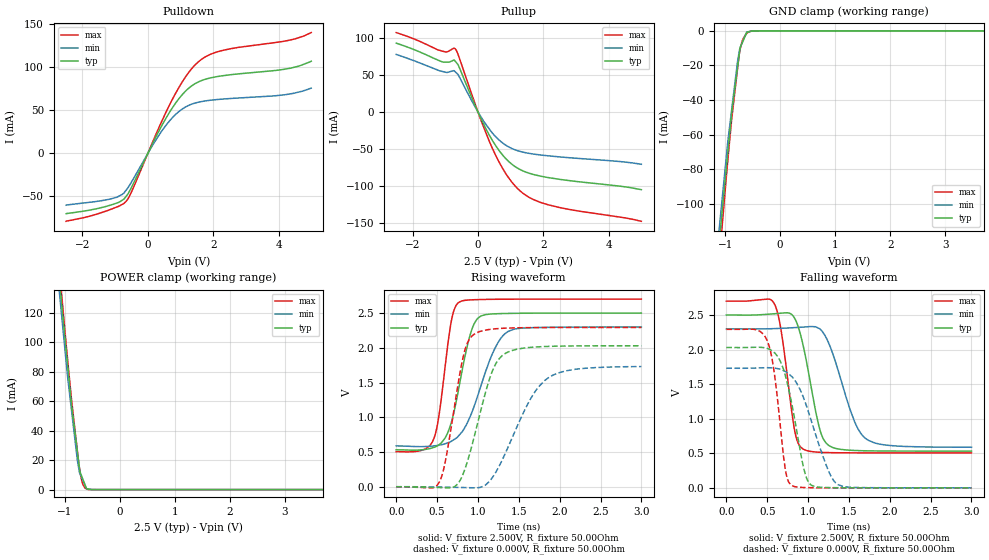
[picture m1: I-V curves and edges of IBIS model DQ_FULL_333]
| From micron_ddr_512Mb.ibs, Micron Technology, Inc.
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|   MODEL DQ_FULL_333
[Model]   DQ_FULL_333
Model_type   I/O
Vinl = 0.940V
Vinh = 1.560V
Vmeas = 1.250V
Vref = 1.250V
Cref = 30.000pF
Rref = 50.000Ohm
|   typ   min   max
C_comp   3.00pF   2.85pF   3.15pF
[Model Spec]
| Input threshold voltage corners
Vinh   1.560V   1.460V   1.660V
Vinl   0.940V   0.840V   1.040V
| Measurement voltage corners
Vmeas   1.250V   1.150V   1.350V
| Timing spec test load voltage corners
Vref   1.250V   1.150V   1.350V
| Overshoot/Undershoot
S_overshoot_high   2.800V   2.600V   3.000V
S_overshoot_low   -0.300V   -0.300V   -0.300V
D_overshoot_high   4.000V   3.800V   4.200V
D_overshoot_low   -1.500V   -1.500V   -1.500V
D_overshoot_time   2.000n   2.000n   2.000n
[Receiver Thresholds]
Vth   =  1.250V
Vth_min  =  1.225V
Vth_max  =  1.275V
Vinh_ac  =  0.310V
Vinh_dc  =  0.150V
Vinl_ac  = -0.310V
Vinl_dc  = -0.150V
Tslew_ac =  10.000ns |Not specified, so set to high value
Threshold_sensitivity = 0.50
Reference_supply Pullup_ref
[Voltage Range]   2.500V   2.300V   2.700V
[Pullup Reference]   2.500V   2.300V   2.700V
| Junction Temperature (Ambient temp is 25C typ, 70C min, 0C max)
[Temperature Range]   40.0   85.0   0.0
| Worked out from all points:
|   slope of the pulldown table from 0 to 0.375 V, typ, clamps not added: 13.1 ohm
|   slope of the pullup table from 0 to 0.375 V, typ, clamps not added: 11.2 ohm
|   GND clamp passes 1 mA (typ) near -0.61 V on its own axis
|   POWER clamp passes 1 mA (typ) near -0.61 V on its own axis
|   falling waveform, V_fixture 2.500V, R_fixture 50.00Ohm: 20-80 % time 196ps typ, 282ps min, 147ps max; typ from 2.5 V to 0.532 V
|   rising waveform, V_fixture 2.500V, R_fixture 50.00Ohm: 20-80 % time 212ps typ, 320ps min, 145ps max; typ from 0.532 V to 2.5 V
|   rising waveform, V_fixture 0.000V, R_fixture 50.00Ohm: 20-80 % time 281ps typ, 427ps min, 197ps max; typ from 0 V to 2.03 V
|   falling waveform, V_fixture 0.000V, R_fixture 50.00Ohm: 20-80 % time 203ps typ, 300ps min, 135ps max; typ from 2.03 V to 0 V
[Pulldown]
|   Voltage   I(typ)   I(min)   I(max)
-2.5V     -70.06mA   -60.08mA   -78.85mA
-1.175V   -60.44mA   -53.21mA   -65.57mA
-775mV    -54.17mA   -47.43mA   -59.06mA
-670mV    -50.2mA    -43.01mA   -55.93mA
-510mV    -40.25mA   -33.9mA    -45.6mA
185mV     14.47mA    12mA       16.52mA
615mV     44.78mA    35.59mA    52.56mA
1.12V     71.14mA    53.28mA    87.1mA
1.58V     83.75mA    59.87mA    107.6mA
2.285V    90.32mA    63.22mA    119.8mA
4.13V     97.6mA     68mA       130.3mA
5V        107.2mA    75.98mA    140.6mA
[GND Clamp]
|   Voltage   I(typ)   I(min)   I(max)
-2.5V     -659.2mA   -625.3mA   -694.5mA
-1.11V    -124.1mA   -115.6mA   -134.2mA
-1.055V   -104.8mA   -97.85mA   -113.6mA
-950mV    -70.46mA   -63.97mA   -74.93mA
-875mV    -46.09mA   -44.3mA    -49.79mA
-775mV    -21.57mA   -18.13mA   -22.31mA
-745mV    -14.21mA   -12.44mA   -14.06mA
-725mV    -9.619mA   -9.587mA   -10.56mA
-685mV    -6.686mA   -6.604mA   -5.657mA
-605mV    -822.7uA   -719.1uA   -1.543mA
-435mV    -7.22uA    -16.8uA    -15.81uA
5V        0A         0A         0A
[Pullup]
|   Voltage   I(typ)   I(min)   I(max)
-2.5V     92.94mA    77.62mA    107.2mA
-1.22V    69.97mA    56.38mA    83.71mA
-975mV    67.21mA    53.48mA    80.82mA
-695mV    68.55mA    54.22mA    85.29mA
-605mV    63.71mA    50.35mA    77.36mA
185mV     -17.32mA   -13.27mA   -21.51mA
495mV     -42.26mA   -31.15mA   -54.15mA
945mV     -67.04mA   -47.32mA   -89.34mA
1.365V    -79.42mA   -54.19mA   -109.4mA
1.885V    -86.44mA   -57.97mA   -121.7mA
2.475V    -90.89mA   -60.65mA   -128.9mA
5V        -105mA     -70.7mA    -147.7mA
[POWER Clamp]
|   Voltage   I(typ)   I(min)   I(max)
-2.5V     748.5mA    726.1mA    769.1mA
-1.11V    146.8mA    138mA      153.9mA
-1.055V   124.8mA    116.9mA    131.2mA
-950mV    84.87mA    76.56mA    88.38mA
-880mV    58.28mA    54.27mA    61.57mA
-770mV    25.16mA    19.45mA    25.42mA
-725mV    12.08mA    10.63mA    12.36mA
-700mV    9.669mA    8.519mA    7.33mA
-625mV    2.448mA    2.181mA    782uA
-605mV    524.6uA    585uA      438.6uA
-505mV    20.96uA    37.62uA    9.329uA
5V        0A         0A         0A
[Ramp]
R_load = 50.00Ohm
|   typ   min   max
dV/dt_r   1.217V/281.206ps   1.038V/426.938ps   1.375V/196.792ps
dV/dt_f   1.181V/196.033ps   1.027V/282.335ps   1.317V/147.379ps
[Falling Waveform]
V_fixture = 2.500V
V_fixture_min = 2.300V
V_fixture_max = 2.700V
R_fixture = 50.00Ohm
|   Time   V(typ)   V(min)   V(max)
0s        2.5V       2.299V     2.7V
590ps     2.518V     2.303V     2.655V
670ps     2.526V     2.307V     2.278V
840ps     2.445V     2.318V     804.1mV
940ps     2.058V     2.325V     561.1mV
1.14ns    861.5mV    2.302V     514.6mV
1.25ns    615.5mV    2.1V       509.9mV
1.57ns    540.8mV    956.3mV    506.3mV
1.71ns    535.8mV    709mV      506mV
3ns       531.5mV    587.4mV    505.8mV
[Rising Waveform]
V_fixture = 2.500V
V_fixture_min = 2.300V
V_fixture_max = 2.700V
R_fixture = 50.00Ohm
|   Time   V(typ)   V(min)   V(max)
0s        531.5mV    587.4mV    505.8mV
460ps     565.8mV    587.5mV    690.6mV
530ps     609.9mV    599.6mV    1.077V
670ps     907.6mV    651.2mV    2.357V
770ps     1.444V     741.9mV    2.656V
890ps     2.122V     970mV      2.688V
980ps     2.397V     1.248V     2.693V
1.2ns     2.488V     1.972V     2.698V
1.37ns    2.494V     2.235V     2.699V
3ns       2.5V       2.299V     2.7V
[Rising Waveform]
V_fixture = 0.000V
V_fixture_min = 0.000V
V_fixture_max = 0.000V
R_fixture = 50.00Ohm
|   Time   V(typ)   V(min)   V(max)
0s        -45.3uV    350.2uV    -15uV
530ps     -11.65mV   -4.11mV    71.44mV
610ps     -14.99mV   -5.852mV   419.5mV
830ps     219.5mV    -11.64mV   1.922V
950ps     698.3mV    -15.37mV   2.191V
1.16ns    1.613V     105.6mV    2.266V
1.34ns    1.923V     493.4mV    2.282V
1.64ns    2.006V     1.256V     2.29V
1.88ns    2.02V      1.583V     2.291V
3ns       2.029V     1.73V      2.292V
[Falling Waveform]
V_fixture = 0.000V
V_fixture_min = 0.000V
V_fixture_max = 0.000V
R_fixture = 50.00Ohm
|   Time   V(typ)   V(min)   V(max)
0s        2.029V     1.73V      2.292V
500ps     2.016V     1.737V     2.128V
580ps     1.962V     1.734V     1.72V
720ps     1.633V     1.683V     279.3mV
800ps     1.221V     1.61V      35.31mV
930ps     374.1mV    1.347V     6.371mV
1ns       94.9mV     1.116V     3.567mV
1.25ns    4.216mV    246.2mV    567.1uV
1.37ns    1.979mV    43.76mV    255.5uV
3ns       -45.3uV    350.2uV    -15uV
